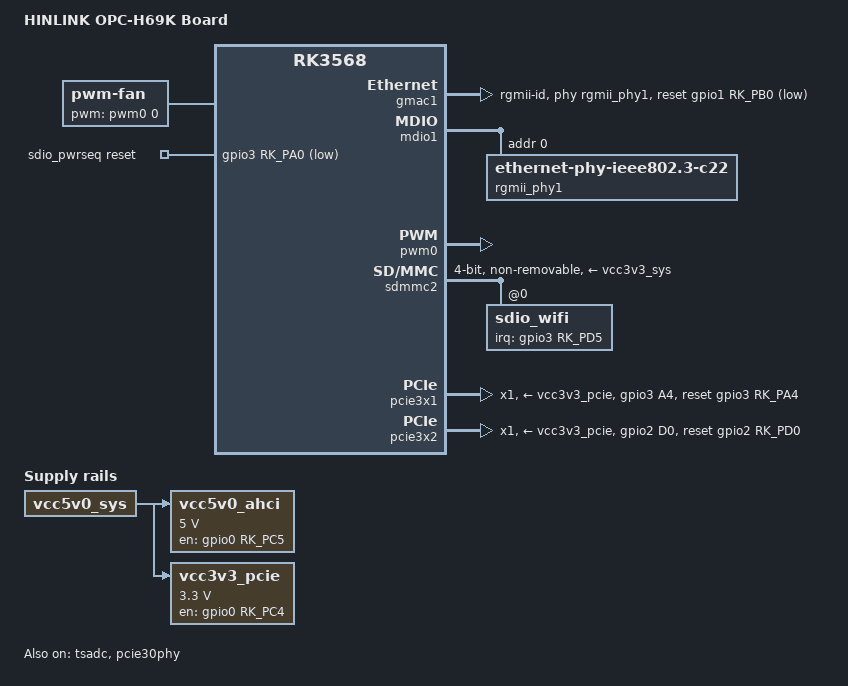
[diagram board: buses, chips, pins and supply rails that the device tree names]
// SPDX-License-Identifier: (GPL-2.0+ OR MIT)
// Copyright (c) 2023 AmadeusGhost <amadeus@jmu.edu.cn>

/dts-v1/;

#include "rk3568-hinlink-opc.dtsi"

/ {
	model = "HINLINK OPC-H69K Board";
	compatible = "hinlink,opc-h69k", "rockchip,rk3568";

	aliases {
		ethernet0 = &gmac1;
	};

	//modem_reset: modem-reset {
	//	status = "okay";
	//	compatible = "daocaoren,modem-switch";
	//	pinctrl-names = "default";
	//	pinctrl-0 = <&modem_reset_pin>;
	//	// 这里保持 GPIO_ACTIVE_LOW 不变，因为你的硬件特性就是低电平有效
	//	gpio = <&gpio0 RK_PC0 GPIO_ACTIVE_LOW>;
	//	// 【关键修改】改为 0
	//	// 逻辑 0 -> 内核看到 ACTIVE_LOW 标志 -> 输出物理高电平 -> 硬件有电
	//	gpio-init-level = <1>; 
	//	output-high; 
	//};

	//gpio-export {
	//	status="okay";
	//	compatible = "neardi,gpio-export";
	//	pinctrl-names = "default";
	//	neardi,gpio-name = "gpio_export";
	//	/**
	//	* below gpio's name were based on neardi ld160 board, please see the  declarelation of board.
	//	*/
	//	neardi,gpio-export =  <&gpio0 RK_PC0 GPIO_ACTIVE_HIGH>;
	//};

	fan: pwm-fan {
		compatible = "pwm-fan";
		cooling-levels = <0 90 100 110 120 130 140 150 160 200 255>;
		#cooling-cells = <2>;
		pwms = <&pwm0 0 50000 0>;
	};

	vcc5v0_ahci: vcc5v0-ahci {
		compatible = "regulator-fixed";
		enable-active-high;
		gpio = <&gpio0 RK_PC5 GPIO_ACTIVE_HIGH>;
		pinctrl-names = "default";
		pinctrl-0 = <&sata_pwr_en>;
		regulator-min-microvolt = <5000000>;
		regulator-max-microvolt = <5000000>;
		regulator-name = "vcc5v0_ahci";
		vin-supply = <&vcc5v0_sys>;
	};

	sdio_pwrseq: sdio-pwrseq {
		compatible = "mmc-pwrseq-simple";
		clocks = <&rk809 1>;
		clock-names = "ext_clock";
		pinctrl-names = "default";
		pinctrl-0 = <&wifi_enable>;
		post-power-on-delay-ms = <300>;
		power-off-delay-us = <5000000>;
		reset-gpios = <
			&gpio3 RK_PA0 GPIO_ACTIVE_LOW
		>;
	};
};

&tsadc {
	status = "okay";
	rockchip,hw-tshut-mode = <0>; // 0: 温度达到阈值时关闭系统
	// rockchip,hw-tshut-polarity = <1>; // 1: 高电平有效
};


&cpu_thermal {
	trips {

		cpu_low: cpu_low {
			temperature = <40000>;
			hysteresis = <2000>;
			type = "active";
		};

		cpu_passive: cpu_passive {
			temperature = <41000>;
			hysteresis = <2000>;
			type = "active";
		};

		cpu_active: cpu_active {
			temperature = <45000>;
			hysteresis = <2000>;
			type = "active";
		};
		
		cpu_active2: cpu_active {
			temperature = <50000>;
			hysteresis = <2000>;
			type = "active";
		};

		cpu_active3: cpu_active {
			temperature = <55000>;
			hysteresis = <2000>;
			type = "active";
		};

		cpu_active4: cpu_active {
			temperature = <57000>;
			hysteresis = <2000>;
			type = "active";
		};

		cpu_active5: cpu_active {
			temperature = <59000>;
			hysteresis = <2000>;
			type = "active";
		};

		cpu_active6: cpu_warm {
			temperature = <60000>;
			hysteresis = <2000>;
			type = "active";
		};

		cpu_warm: cpu_warm {
			temperature = <65000>;
			hysteresis = <2000>;
			type = "active";
		};

		cpu_hot: cpu_hot {
			temperature = <70000>;
			hysteresis = <2000>;
			type = "active";
		};
	};

	cooling-maps {
		
		map1 {
			trip = <&cpu_low>;
			cooling-device = <&fan 0 0>;
		};


		map2 {
			trip = <&cpu_passive>;
			cooling-device = <&fan 1 1>;
		};

		map3 {
			trip = <&cpu_active>;
			cooling-device = <&fan 2 2>;
		};

		map4 {
			trip = <&cpu_active2>;
			cooling-device = <&fan 3 3>;
		};

		map5 {
			trip = <&cpu_active3>;
			cooling-device = <&fan 4 4>;
		};

		map6 {
			trip = <&cpu_active4>;
			cooling-device = <&fan 5 5>;
		};

		map7 {
			trip = <&cpu_active5>;
			cooling-device = <&fan 6 6>;
		};

		map8 {
			trip = <&cpu_active6>;
			cooling-device = <&fan 7 7>;
		};

		map9 {
			trip = <&cpu_warm>;
			cooling-device = <&fan 8 8>;
		};

		map10 {
			trip = <&cpu_hot>;
			cooling-device = <&fan 9 9>;
		};
	};
};


&gmac1 {
	assigned-clocks = <&cru SCLK_GMAC1_RX_TX>, <&cru SCLK_GMAC1>;
	assigned-clock-parents = <&cru SCLK_GMAC1_RGMII_SPEED>;
	assigned-clock-rates = <0>, <125000000>;
	clock_in_out = "output";
	phy-mode = "rgmii-id";
	pinctrl-names = "default";
	pinctrl-0 = <&gmac1m1_miim
		     &gmac1m1_tx_bus2
		     &gmac1m1_rx_bus2
		     &gmac1m1_rgmii_clk
		     &gmac1m1_rgmii_bus>;
	snps,reset-gpio = <&gpio1 RK_PB0 GPIO_ACTIVE_LOW>;
	snps,reset-active-low;
	snps,reset-delays-us = <0 20000 100000>;
	tx_delay = <0x4f>;
	rx_delay = <0x26>;
	phy-handle = <&rgmii_phy1>;
	status = "okay";
};

&mdio1 {
	rgmii_phy1: ethernet-phy@0 {
		compatible = "ethernet-phy-ieee802.3-c22";
		reg = <0x0>;
	};
};



&pinctrl {
    
	pcie {
        pcie_pwr_en: pcie-pwr-en {
            rockchip,pins = <0 RK_PC4 RK_FUNC_GPIO &pcfg_pull_none>;
        };

		// 新增：pcie3x1 复位引脚配置
        pcie3x1_reset_pin: pcie3x1-reset-pin {
            rockchip,pins = <3 RK_PA4 RK_FUNC_GPIO &pcfg_pull_none>;
        };
		
        // 新增：pcie3x2 复位引脚配置
        pcie3x2_reset_pin: pcie3x2-reset-pin {
            rockchip,pins = <2 RK_PD0 RK_FUNC_GPIO &pcfg_pull_none>;
        };
    };

	//modem {
	//	modem_reset_pin: modem-reset-pin {
	//		rockchip,pins = <0 RK_PC0 RK_FUNC_GPIO &pcfg_pull_up>;
	//	};
	//};

	sata {
		sata_pwr_en: sata-pwr-en {
			rockchip,pins = <0 RK_PC5 RK_FUNC_GPIO &pcfg_pull_none>;
		};
	};

	sdio-pwrseq {
		wifi_enable: wifi-enable {
			rockchip,pins = <3 RK_PA0 RK_FUNC_GPIO &pcfg_pull_none>;
		};

		wifi_host_wake: wifi-host-wake {
			rockchip,pins = <3 RK_PD5 RK_FUNC_GPIO &pcfg_pull_down>;
		};
	};
};

&pwm0 {
	status = "okay";
};

&sata0 {
	target-supply = <&vcc5v0_ahci>;
};


&sdmmc2 {
	bus-width = <4>;
	disable-wp;
	cap-sd-highspeed;
	cap-sdio-irq;
	keep-power-in-suspend;
	mmc-pwrseq = <&sdio_pwrseq>;
	non-removable;
	pinctrl-names = "default";
	pinctrl-0 = <&sdmmc2m0_bus4 &sdmmc2m0_cmd &sdmmc2m0_clk>;
	sd-uhs-sdr12;
	sd-uhs-sdr25;
	sd-uhs-sdr50;
	sd-uhs-sdr104;
	vmmc-supply = <&vcc3v3_sys>;
	vqmmc-supply = <&vcc_1v8>;
	status = "okay";

	sdio_wifi@0 {
		reg = <0>;
		interrupt-parent = <&gpio3>;
		interrupts = <RK_PD5 IRQ_TYPE_LEVEL_HIGH>;
		interrupt-names = "host-wake";
		pinctrl-names = "default";
		pinctrl-0 = <&wifi_host_wake>;
	};

};

&uart0 {
    status = "disabled";
};

&vcc3v3_pcie {
    compatible = "regulator-fixed";
    enable-active-high;
    gpio = <&gpio0 RK_PC4 GPIO_ACTIVE_HIGH>;
    pinctrl-names = "default";
    pinctrl-0 = <&pcie_pwr_en>;
    regulator-min-microvolt = <3300000>;
    regulator-max-microvolt = <3300000>;
    regulator-name = "vcc3v3_pcie";
    startup-delay-us = <20000>;
    regulator-boot-on;
    regulator-load = <500000>;
    vin-supply = <&vcc5v0_sys>;
    regulator-always-on;
    // 新增：6.1+内核特有，禁用regulator的动态负载调节，恢复5.1内核的稳定模式
    regulator-disable-dynamic;
};


&pcie30phy {
    data-lanes = <1 2>;
    clock-frequency = <100000000>;
    avdd-0v9-supply = <&vdda0v9_pmu>;
    avdd-1v8-supply = <&vcca1v8_pmu>;
    vdd-0v9-supply = <&vdda0v9_pmu>;
    vdd-1v8-supply = <&vcca1v8_pmu>;
    max-link-speed = <2>;
    // 新增：禁用ASPM，避免6.1+内核的电源管理干扰（关键，解决6.1+内核特有问题）
    snps,aspm-disable = <1>;
    snps,disable-pcie-aspm;
    status = "okay";
};

// 1. 给&pcie3x1和&pcie3x2添加枚举超时延长配置（6.1+内核支持）
&pcie3x1 {
    num-lanes = <1>;
    vpcie3v3-supply = <&vcc3v3_pcie>;
    reset-gpios = <&gpio3 RK_PA4 GPIO_ACTIVE_HIGH>;
    pinctrl-names = "default";
    pinctrl-0 = <&pcie3x1_reset_pin>;
    reset-delay-ms = <50>;
    post-reset-delay-ms = <100>;
    pre-init-delay-ms = <100>;
    rockchip,pcie-wakeup-delay = <200>;
    snps,aspm-disable = <1>;
    // 新增：延长枚举超时时间，接近5.1内核的容错性
    snps,enumeration-timeout = <1000>;  // 延长到1秒，避免网卡枚举超时
    status = "okay";
};

&pcie3x2 {
    num-lanes = <1>;
    vpcie3v3-supply = <&vcc3v3_pcie>;
    reset-gpios = <&gpio2 RK_PD0 GPIO_ACTIVE_HIGH>;
    pinctrl-names = "default";
    pinctrl-0 = <&pcie3x2_reset_pin>;
    reset-delay-ms = <50>;
    post-reset-delay-ms = <100>;
    pre-init-delay-ms = <500>;
    rockchip,pcie-wakeup-delay = <200>;
    snps,aspm-disable = <1>;
    // 新增：延长枚举超时时间，接近5.1内核的容错性
    snps,enumeration-timeout = <1000>;  // 延长到1秒，避免网卡枚举超时
    status = "okay";
};
